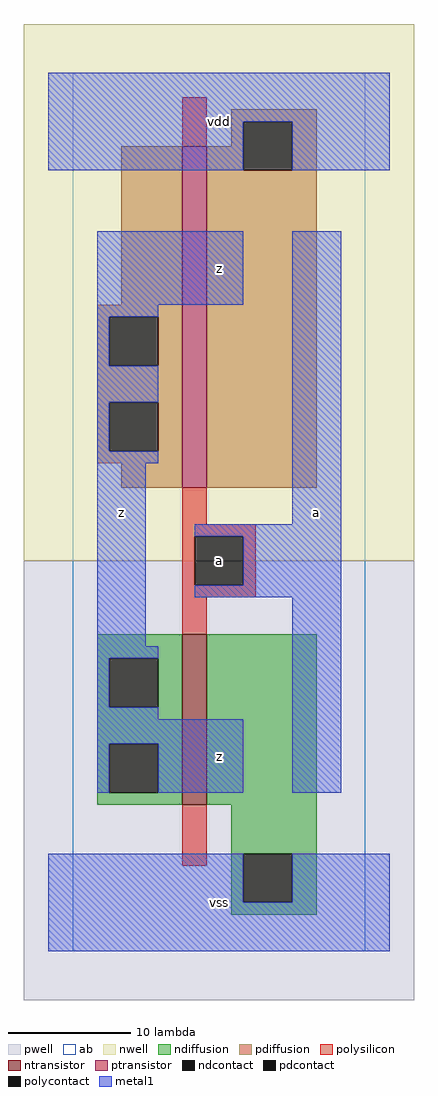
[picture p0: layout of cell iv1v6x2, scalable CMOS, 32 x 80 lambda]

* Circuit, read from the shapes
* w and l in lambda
.subckt iv1v6x2 a vdd vss z
M1 vss a z VSUBS nfet w=14 l=2
M2 vdd a z n1 pfet w=28 l=2
.ends

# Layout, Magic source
magic
tech scmos
<< ab >>
rect 0 0 24 72
<< pwell >>
rect -4 -4 28 32
<< nwell >>
rect -4 32 28 76
<< polysilicon >>
rect 9 66 11 70
rect 9 35 11 38
rect 9 34 15 35
rect 9 30 10 34
rect 14 30 15 34
rect 9 29 15 30
rect 9 26 11 29
rect 9 7 11 12
<< ndiffusion >>
rect 2 24 9 26
rect 2 20 3 24
rect 7 20 9 24
rect 2 17 9 20
rect 2 13 3 17
rect 7 13 9 17
rect 2 12 9 13
rect 11 12 20 26
rect 13 8 20 12
rect 13 4 14 8
rect 18 4 20 8
rect 13 3 20 4
<< pdiffusion >>
rect 13 68 20 69
rect 13 66 14 68
rect 4 53 9 66
rect 2 52 9 53
rect 2 48 3 52
rect 7 48 9 52
rect 2 45 9 48
rect 2 41 3 45
rect 7 41 9 45
rect 2 40 9 41
rect 4 38 9 40
rect 11 64 14 66
rect 18 64 20 68
rect 11 38 20 64
<< metal1 >>
rect -2 68 26 72
rect -2 64 14 68
rect 18 64 26 68
rect 2 53 14 59
rect 2 52 7 53
rect 2 48 3 52
rect 2 45 7 48
rect 2 41 3 45
rect 2 40 7 41
rect 2 25 6 40
rect 18 35 22 59
rect 10 34 22 35
rect 14 30 22 34
rect 10 29 22 30
rect 2 24 7 25
rect 2 20 3 24
rect 2 19 7 20
rect 2 17 14 19
rect 2 13 3 17
rect 7 13 14 17
rect 18 13 22 29
rect -2 4 14 8
rect 18 4 26 8
rect -2 0 26 4
<< ntransistor >>
rect 9 12 11 26
<< ptransistor >>
rect 9 38 11 66
<< polycontact >>
rect 10 30 14 34
<< ndcontact >>
rect 3 20 7 24
rect 3 13 7 17
rect 14 4 18 8
<< pdcontact >>
rect 3 48 7 52
rect 3 41 7 45
rect 14 64 18 68
<< labels >>
rlabel metal1 4 36 4 36 6 z
rlabel metal1 12 4 12 4 6 vss
rlabel metal1 12 16 12 16 6 z
rlabel polycontact 12 32 12 32 6 a
rlabel metal1 12 56 12 56 6 z
rlabel metal1 12 68 12 68 6 vdd
rlabel metal1 20 36 20 36 6 a
<< end >>
